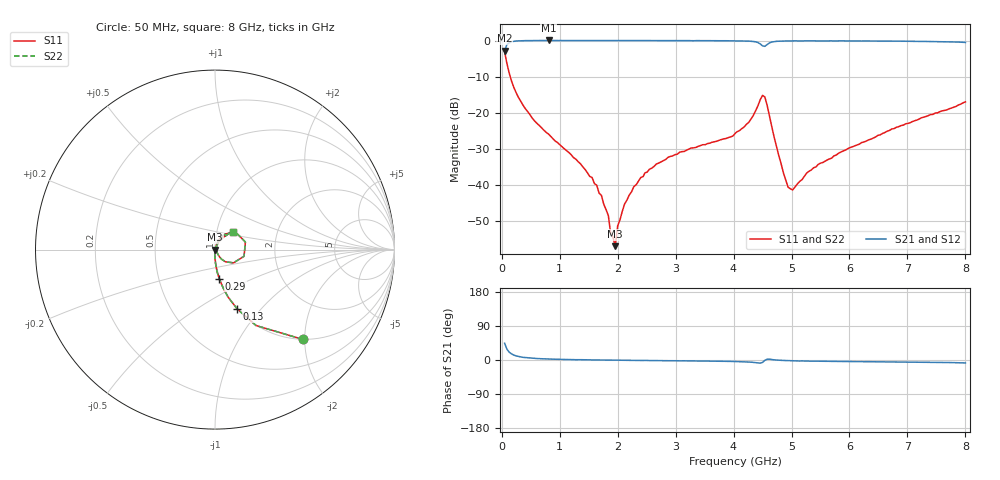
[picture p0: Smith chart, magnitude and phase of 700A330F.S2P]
!  American Technical Ceramics  Date:  3/13/98
!  One Norden Lane
!  Huntington Station,  NY.  11746-2102
!  Tel:  (516) 547-5700  Fax:  (516) 547-5748
!  Part Number  700A330F
!  Description: Porcelain, High Q, Low ESR
!  Application: Bypass, Coupling, Timing, Feedback
!  Tuning, Impedance Match, Blocking
# GHZ S DB R 50
! Freq  |S11|  S11 Ph  |S21|  S21 Ph  |S12|  S12 Ph  |S22|  S22 Ph
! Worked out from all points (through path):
!   201 points, 50 MHz to 8 GHz, reference 50 ohm
!   highest |S21| = 0.03 dB at 810 MHz (marker M1); lowest = -2.8 dB at 50 MHz (marker M2)
!   group delay of S21, straight-line fit = 4.63 ps
!   lowest |S11| = -56.9 dB at 1.96 GHz (marker M3), VSWR 1.00, Z = 50.1 - j0.0193 ohm
!   |S11| at or under -10 dB: 147.6 MHz to end of sweep
!   |S22| runs from -56.9 to -3.1 dB; largest |S21 - S12| = 0
!   S11 on the Smith chart (normalised r, x): 50 MHz: 1.00, -1.96; 130 MHz: 1.00, -0.75; 290 MHz: 0.99, -0.33; 8 GHz: 1.20, +0.24
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0.05  -3.10 -45.6  -2.83 44.2  -2.83 44.2  -3.10 -45.6
0.09  -6.36 -61.6  -1.10 28.5  -1.10 28.5  -6.36 -61.6
0.13  -9.04 -69.5  -0.63 20.5  -0.63 20.5  -9.04 -69.5
0.29  -15.74 -81.8  -0.08 9.3  -0.08 9.3  -15.74 -81.8
0.81  -25.89 -90.3  0.03 2.6  0.03 2.6  -25.89 -90.3
1.4  -34.94 -91.7  0.01 0.7  0.01 0.7  -34.94 -91.7
1.72  -42.78 -84.5  0.00 0.1  0.00 0.1  -42.78 -84.5
1.84  -48.40 -77.0  0.01 -0.3  0.01 -0.3  -48.40 -77.0
1.96  -56.85 -7.7  0.00 -0.5  0.00 -0.5  -56.85 -7.7
2  -51.27 52.5  0.01 -0.4  0.01 -0.4  -51.27 52.5
2.2  -42.72 63.5  0.00 -0.9  0.00 -0.9  -42.72 63.5
2.47  -36.61 72.2  0.01 -1.3  0.01 -1.3  -36.61 72.2
2.71  -33.87 72.6  -0.01 -1.7  -0.01 -1.7  -33.87 72.6
4.03  -25.62 68.6  -0.06 -4.0  -0.06 -4.0  -25.62 68.6
4.26  -22.64 64.4  -0.15 -5.5  -0.15 -5.5  -22.64 64.4
4.5  -15.16 13.9  -1.47 -6.4  -1.47 -6.4  -15.16 13.9
4.58  -17.94 -35.6  -1.09 2.1  -1.09 2.1  -17.94 -35.6
4.94  -40.52 -18.3  -0.09 -1.5  -0.09 -1.5  -40.52 -18.3
5.02  -41.30 8.2  -0.08 -2.0  -0.08 -2.0  -41.30 8.2
5.38  -35.18 57.6  -0.08 -3.1  -0.08 -3.1  -35.18 57.6
6.69  -24.85 62.3  -0.16 -5.1  -0.16 -5.1  -24.85 62.3
8  -16.93 44.3  -0.52 -7.7  -0.52 -7.7  -16.93 44.3
